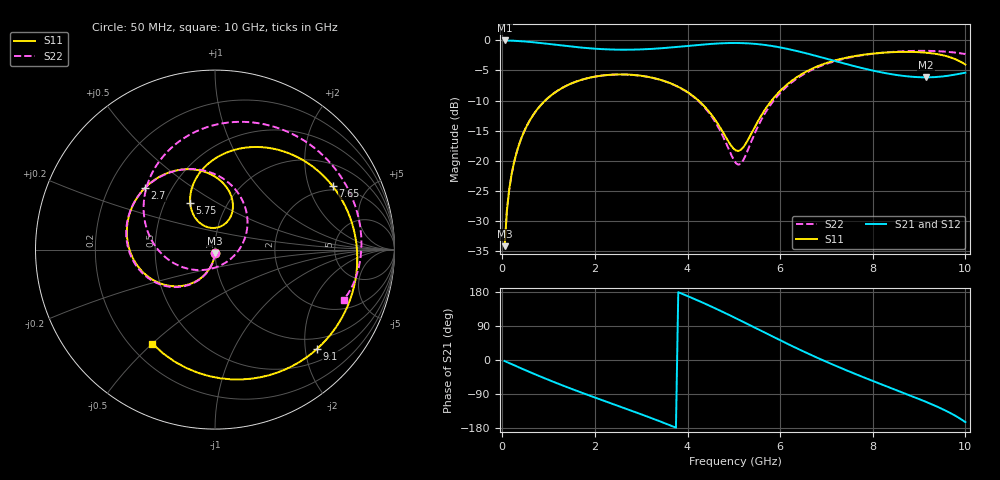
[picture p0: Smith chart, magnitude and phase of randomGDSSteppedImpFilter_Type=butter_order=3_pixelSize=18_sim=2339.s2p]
! freq	dB(S11)	phase(S11)	dB(S12)	phase(S12)
!  dB(S21)	phase(S21)	dB(S22)	phase(S22)
!S-par simulation data
#  GHz  S  DB  R 50
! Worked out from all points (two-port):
!   200 points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, 50 MHz to 10 GHz, reference 50 ohm
!   highest |S21| = -0.01 dB at 50 MHz (marker M1); lowest = -6.1 dB at 9.15 GHz (marker M2)
!   |S21| within 3 dB of the highest: start of sweep to 6.985 GHz
!   lowest |S11| = -34.2 dB at 50 MHz (marker M3), VSWR 1.04, Z = 49.9 - j1.95 ohm
!   |S11| at or under -10 dB: start of sweep to 926.5 MHz; 4.237 GHz to 5.815 GHz (1.578 GHz wide, 31.4 % of centre)
!   |S22| runs from -34.2 to -1.7 dB; largest |S21 - S12| = 0
!   S11 on the Smith chart (normalised r, x): 50 MHz: 1.00, -0.04; 2.7 GHz: 0.36, +0.33; 5.75 GHz: 0.67, +0.38; 7.65 GHz: 1.84, +2.91; 9.1 GHz: 0.75, -2.25; 10 GHz: 0.29, -0.50
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0.05  -34.19 -91.0  -0.01 -2.8  -0.01 -2.8  -34.19 -90.9
0.1  -28.23 -94.8  -0.02 -5.5  -0.02 -5.5  -28.23 -94.7
0.2  -22.30 -100.9  -0.05 -10.9  -0.05 -10.9  -22.30 -100.7
0.5  -14.67 -117.7  -0.19 -26.9  -0.19 -26.9  -14.67 -117.0
1.1  -8.86 -148.7  -0.68 -57.4  -0.68 -57.4  -8.86 -147.3
1.75  -6.46 -179.4  -1.23 -87.9  -1.23 -87.9  -6.46 -177.5
2.7  -5.68 138.8  -1.55 -129.9  -1.55 -129.9  -5.68 140.5
3.4  -6.52 108.4  -1.33 -161.7  -1.33 -161.7  -6.54 107.8
4.25  -10.09 73.3  -0.74 155.6  -0.74 155.6  -10.20 59.6
4.65  -13.81 64.6  -0.52 133.3  -0.52 133.3  -14.24 26.6
5.05  -18.31 87.8  -0.43 109.8  -0.43 109.8  -20.43 -45.0
5.2  -17.80 106.3  -0.46 100.8  -0.46 100.8  -19.96 -89.5
5.75  -10.66 118.1  -0.84 67.2  -0.84 67.2  -11.17 -170.4
6.2  -7.01 99.8  -1.48 40.2  -1.48 40.2  -7.28 155.7
6.7  -4.66 75.1  -2.42 11.6  -2.42 11.6  -4.84 124.5
7.2  -3.30 50.2  -3.46 -15.4  -3.46 -15.4  -3.42 96.6
7.65  -2.56 28.2  -4.37 -38.2  -4.37 -38.2  -2.63 73.7
8.35  -1.98 -5.3  -5.55 -72.0  -5.55 -72.0  -1.96 41.2
9.1  -2.01 -44.2  -6.14 -108.0  -6.14 -108.0  -1.73 9.9
9.15  -2.04 -47.1  -6.14 -110.5  -6.14 -110.5  -1.74 7.9
9.65  -2.75 -82.9  -5.85 -138.3  -5.85 -138.3  -1.93 -10.5
10  -4.02 -123.6  -5.36 -163.9  -5.36 -163.9  -2.27 -21.2
